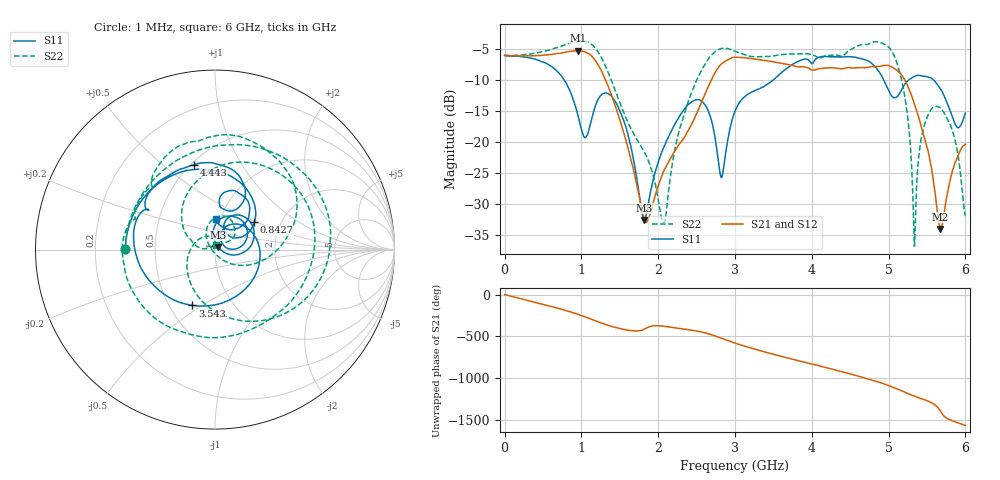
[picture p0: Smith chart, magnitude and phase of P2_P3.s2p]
! P2-P3  26-Dec-22  13:03:16
! Ref Plane: 0.000 mm
# MHZ S MA R  50
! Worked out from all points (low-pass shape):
!   10001 points, 1 MHz to 6 GHz, reference 50 ohm
!   highest |S21| = -5.25 dB at 959.6 MHz (marker M1); lowest = -34.0 dB at 5.672 GHz (marker M2)
!   |S21| within 3 dB of the highest: start of sweep to 1.251 GHz; 2.767 GHz to 3.983 GHz (1.216 GHz wide, 36 % of centre)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
!   lowest |S11| = -32.6 dB at 1.818 GHz (marker M3), VSWR 1.05, Z = 51.9 + j1.48 ohm
!   |S11| at or under -10 dB: 779.1 MHz to 3.495 GHz (2.716 GHz wide, 127 % of centre); 4.937 GHz to 5.261 GHz (324.1 MHz wide, 6.36 % of centre); 5.587 GHz to end of sweep
!   |S22| runs from -36.8 to -3.6 dB; largest |S21 - S12| = 0.009
!   S11 on the Smith chart (normalised r, x): 1 MHz: 0.33, +0.00; 842.7 MHz: 1.47, +0.48; 3.543 GHz: 0.65, -0.46; 4.443 GHz: 0.52, +0.64; 6 GHz: 0.95, +0.34
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1  0.5007 179.8  0.5 -0.0  0.4997 -0.2  0.5 179.8
423.9295  0.4619 105.1  0.4984 -98.5  0.4988 -98.6  0.5245 125.6
842.6597  0.2664 34.7  0.5379 156.9  0.5366 156.7  0.6267 61.0
959.6402  0.1606 25.6  0.5465 122.2  0.5447 122.2  0.6569 35.7
1001.033  0.127 31.0  0.5438 109.1  0.5422 109.0  0.6603 25.4
1230.195  0.2277 58.0  0.4085 29.1  0.4089 29.4  0.52 -44.4
1420.963  0.2229 15.2  0.2134 -29.1  0.2141 -28.9  0.282 -108.4
1818.097  0.02353 37.3  0.02411 -56.3  0.02412 -56.2  0.08387 117.4
2001.067  0.06895 95.0  0.04446 -14.1  0.04441 -13.9  0.03446 93.2
2706.549  0.1398 5.5  0.3303 -125.8  0.332 -126.3  0.5135 71.6
2825.929  0.05197 36.9  0.4283 -165.7  0.4234 -165.7  0.5688 37.0
3000.5  0.1772 53.5  0.4837 137.4  0.4771 138.1  0.5409 -9.3
3542.81  0.3357 -112.2  0.4389 -6.3  0.4405 -6.2  0.5015 -121.3
4000.533  0.4296 149.1  0.381 -114.2  0.3832 -113.6  0.5074 167.5
4443.26  0.4874 103.7  0.3963 142.8  0.3956 143.0  0.5205 132.9
4719.813  0.4559 77.9  0.3989 72.0  0.4046 71.9  0.6131 98.3
5000.567  0.2614 61.4  0.4139 -11.9  0.4134 -12.0  0.5836 43.7
5217.73  0.2975 84.3  0.3127 -93.5  0.311 -94.1  0.2196 -22.1
5337.11  0.3395 75.7  0.2037 -138.3  0.2026 -138.6  0.01453 -147.7
5450.492  0.3399 66.5  0.1184 -175.4  0.1186 -174.8  0.1265 111.3
5671.855  0.2715 45.5  0.01994 45.1  0.02018 45.4  0.1897 63.1
6000  0.1719 88.9  0.09622 -129.4  0.09669 -129.7  0.02549 87.6
